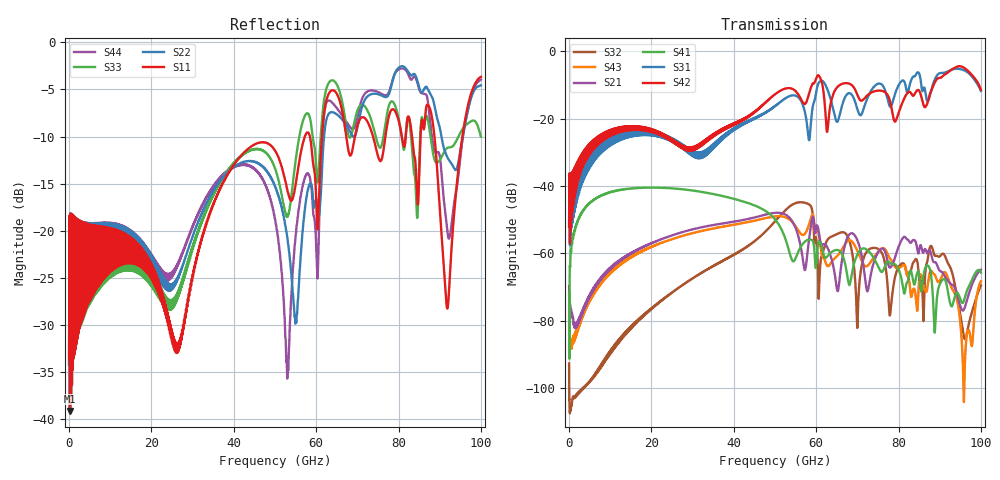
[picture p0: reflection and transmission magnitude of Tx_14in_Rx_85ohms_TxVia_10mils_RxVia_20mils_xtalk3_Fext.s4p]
! Info: Touchstone file created by Circ.  Input file=Tx_14in_Rx_85ohms_TxVia_10mils_RxVia_20mils.circ
# Hz S RI R 50
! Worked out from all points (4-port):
!   10000 points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, 10 MHz to 100 GHz, reference 50 ohm
!   strongest paths, dB at 10 MHz, 25.01 GHz, 50.01 GHz, 75.01 GHz, 100 GHz:
!     S42: -52.0, -26.6, -12.8, -11.7, -11.5
!     S31: -52.1, -26.4, -16.3, -9.7, -11.8
!     S41: -71.7, -40.7, -49.9, -63.7, -65.7
!     S21: -69.7, -54.6, -47.9, -59.7, -64.8
!     S43: -82.8, -55.7, -49.0, -59.5, -68.3
!     S32: -92.7, -71.5, -50.5, -58.6, -69.5
!   lowest |S11| = -39.1 dB at 220 MHz (marker M1), VSWR 1.02, Z = 49.1 + j0.57 ohm
!   |S11| at or under -10 dB: start of sweep to 57.25 GHz; 73.8 GHz to 76.82 GHz (3.018 GHz wide, 4.01 % of centre); 88.73 GHz to 95.51 GHz (6.78 GHz wide, 7.36 % of centre)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
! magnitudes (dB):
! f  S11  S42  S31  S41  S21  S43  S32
! 10 MHz  -33.6  -52.0  -52.1  -71.7  -69.7  -82.8  -92.7
! 220 MHz  -39.1  -53.0  -53.2  -63.7  -75.0  -87.4  -107.1
! 15.08 GHz  -23.4  -23.0  -24.7  -40.7  -60.0  -61.0  -82.2
! 55.86 GHz  -12.7  -13.2  -13.9  -59.0  -55.8  -53.5  -44.8
! 70 GHz  -8.9  -12.9  -17.2  -60.3  -56.1  -59.2  -81.8
! 91.84 GHz  -28.2  -6.4  -6.0  -70.2  -67.8  -66.7  -62.5
! 100 GHz  -3.7  -11.5  -11.8  -65.7  -64.8  -68.3  -69.5
